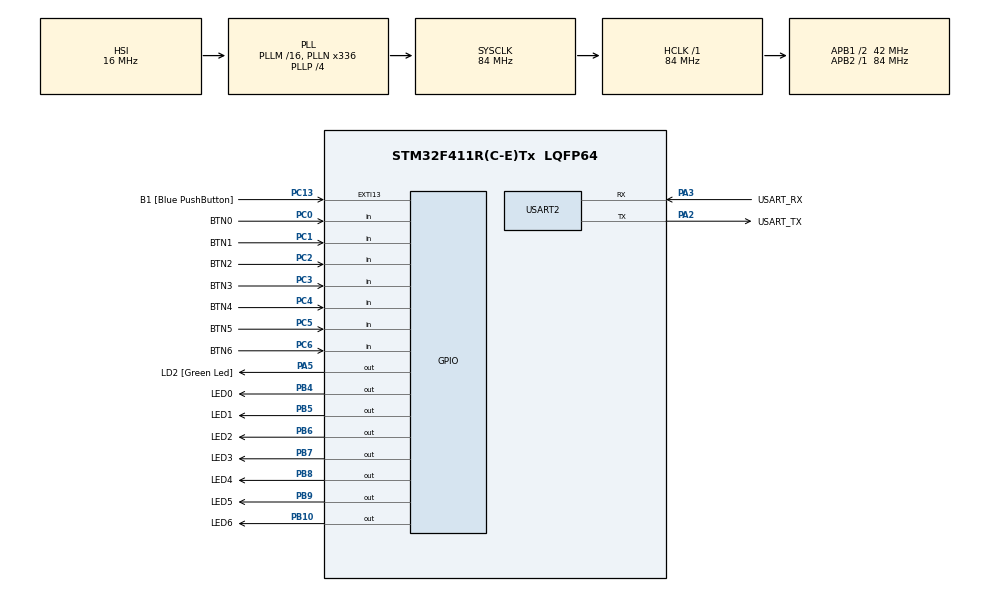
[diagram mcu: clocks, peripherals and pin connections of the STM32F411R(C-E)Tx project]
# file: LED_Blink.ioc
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Mcu.Family=STM32F4
Mcu.Name=STM32F411R(C-E)Tx
Mcu.Package=LQFP64
NVIC.PriorityGroup=NVIC_PRIORITYGROUP_0
PA13.GPIO_Label=TMS
PA13.Mode=Serial_Wire
PA13.Signal=SYS_JTMS-SWDIO
PA14.GPIO_Label=TCK
PA14.Mode=Serial_Wire
PA14.Signal=SYS_JTCK-SWCLK
PA2.GPIO_Label=USART_TX
PA2.Mode=Asynchronous
PA2.Signal=USART2_TX
PA3.GPIO_Label=USART_RX
PA3.Mode=Asynchronous
PA3.Signal=USART2_RX
PA5.GPIO_Label=LD2 [Green Led]
PA5.Signal=GPIO_Output
PB10.GPIO_Label=LED6
PB10.Signal=GPIO_Output
PB3.GPIO_Label=SWO
PB3.Signal=SYS_JTDO-SWO
PB4.GPIO_Label=LED0
PB4.Signal=GPIO_Output
PB5.GPIO_Label=LED1
PB5.Signal=GPIO_Output
PB6.GPIO_Label=LED2
PB6.Signal=GPIO_Output
PB7.GPIO_Label=LED3
PB7.Signal=GPIO_Output
PB8.GPIO_Label=LED4
PB8.Signal=GPIO_Output
PB9.GPIO_Label=LED5
PB9.Signal=GPIO_Output
PC0.GPIO_Label=BTN0
PC0.Signal=GPIO_Input
PC1.GPIO_Label=BTN1
PC1.Signal=GPIO_Input
PC13-ANTI_TAMP.GPIO_Label=B1 [Blue PushButton]
PC13-ANTI_TAMP.GPIO_ModeDefaultEXTI=GPIO_MODE_IT_FALLING
PC13-ANTI_TAMP.Signal=GPXTI13
PC14-OSC32_IN.Signal=RCC_OSC32_IN
PC15-OSC32_OUT.Signal=RCC_OSC32_OUT
PC2.GPIO_Label=BTN2
PC2.Signal=GPIO_Input
PC3.GPIO_Label=BTN3
PC3.Signal=GPIO_Input
PC4.GPIO_Label=BTN4
PC4.Signal=GPIO_Input
PC5.GPIO_Label=BTN5
PC5.Signal=GPIO_Input
PC6.GPIO_Label=BTN6
PC6.Signal=GPIO_Input
PH0\ -\ OSC_IN.Signal=RCC_OSC_IN
PH1\ -\ OSC_OUT.Signal=RCC_OSC_OUT
ProjectManager.HeapSize=0x200
ProjectManager.StackSize=0x400
ProjectManager.TargetToolchain=STM32CubeIDE
RCC.48MHZClocksFreq_Value=84000000
RCC.AHBFreq_Value=84000000
RCC.APB1CLKDivider=RCC_HCLK_DIV2
RCC.APB1Freq_Value=42000000
RCC.APB1TimFreq_Value=84000000
RCC.APB2Freq_Value=84000000
RCC.APB2TimFreq_Value=84000000
RCC.CortexFreq_Value=84000000
RCC.FLatency-AdvancedSettings=FLASH_LATENCY_2
RCC.HCLKFreq_Value=84000000
RCC.HSE_VALUE=8000000
RCC.HSI_VALUE=16000000
RCC.LSE_VALUE=32768
RCC.PLLN=336
RCC.PLLP=RCC_PLLP_DIV4
RCC.SYSCLKFreq_VALUE=84000000
RCC.SYSCLKSource=RCC_SYSCLKSOURCE_PLLCLK
RCC.VCOOutputFreq_Value=336000000
USART2.VirtualMode=VM_ASYNC
board=NUCLEO-F411RE

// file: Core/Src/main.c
/* USER CODE BEGIN Header */
/**
  ******************************************************************************
  * @file           : main.c
  * @brief          : Main program body
  ******************************************************************************
  * @attention
  *
  * Copyright (c) 2025 STMicroelectronics.
  * All rights reserved.
  *
  * This software is licensed under terms that can be found in the LICENSE file
  * in the root directory of this software component.
  * If no LICENSE file comes with this software, it is provided AS-IS.
  *
  ******************************************************************************
  */
/* USER CODE END Header */
#include "main.h"

/* USER CODE BEGIN Includes */
#include <stdio.h>
/* USER CODE END Includes */

/* USER CODE BEGIN PD */
#define LOW 0
#define HIGH 1

#ifdef __GNUC__
/* With GCC, small printf (option LD Linker->Libraries->Small printf
   set to 'Yes') calls __io_putchar() */
#define PUTCHAR_PROTOTYPE int __io_putchar(int ch)
#else
#define PUTCHAR_PROTOTYPE int fputc(int ch, FILE *f)
#endif /* __GNUC__ */

/* USER CODE END PD */

UART_HandleTypeDef huart2;

void SystemClock_Config(void);
static void MX_GPIO_Init(void);
static void MX_USART2_UART_Init(void);

int main(void)
{

  /* USER CODE BEGIN 1 */
	int buttonState[7]={ 0 };
	//int buttonFlag = 0;
	int buttonStateOld[7] = { 0 };
	int cnt = 1;
  /* USER CODE END 1 */

  /* MCU Configuration--------------------------------------------------------*/

  /* Reset of all peripherals, Initializes the Flash interface and the Systick. */
  HAL_Init();

  /* Configure the system clock */
  SystemClock_Config();

  /* Initialize all configured peripherals */
  MX_GPIO_Init();
  MX_USART2_UART_Init();
  /* USER CODE BEGIN 2 */
  printf("start\r\n");
  /* USER CODE END 2 */

  /* Infinite loop */
  /* USER CODE BEGIN WHILE */
  while (1)
  {

#if 1
     for(int i=0;i<7;i++)
     {
    	 buttonState[i] = (HAL_GPIO_ReadPin(GPIOC,BTN0_Pin<<i));
    	 if(buttonState[i] != buttonStateOld[i])   //버턴의 상태가 변경시
    	 {
    		 if(buttonState[i])   //버턴이 On일때
    		 {
    			 HAL_GPIO_TogglePin(GPIOB,LED0_Pin<<i);
	//	     buttonFlag = !buttonFlag;   //Toggle
	//	      printf("buttonFlag :  %d\r\n",buttonFlag);
	//	      // check if the pushbutton is pressed. If it is, the buttonState is HIGH:
	//	      if (buttonFlag == HIGH) {
	//	    	printf("HIGH\r\n");
	//	    	HAL_GPIO_WritePin(GPIOB, LED[0],GPIO_PIN_SET);
	//	      } else {
	//	    	printf("LOW\r\n");
	//	        HAL_GPIO_WritePin(GPIOB, LED[0],GPIO_PIN_RESET);
	//	      }
	    		printf("cnt :  %d\r\n",cnt++);
    		 }
    		 buttonStateOld[i] = buttonState[i];
    	 }
     }
#endif
    /* USER CODE END WHILE */

  }
}

void SystemClock_Config(void)
{
  RCC_OscInitTypeDef RCC_OscInitStruct = {0};
  RCC_ClkInitTypeDef RCC_ClkInitStruct = {0};

  /** Configure the main internal regulator output voltage
  */
  __HAL_RCC_PWR_CLK_ENABLE();
  __HAL_PWR_VOLTAGESCALING_CONFIG(PWR_REGULATOR_VOLTAGE_SCALE1);

  /** Initializes the RCC Oscillators according to the specified parameters
  * in the RCC_OscInitTypeDef structure.
  */
  RCC_OscInitStruct.OscillatorType = RCC_OSCILLATORTYPE_HSI;
  RCC_OscInitStruct.HSIState = RCC_HSI_ON;
  RCC_OscInitStruct.HSICalibrationValue = RCC_HSICALIBRATION_DEFAULT;
  RCC_OscInitStruct.PLL.PLLState = RCC_PLL_ON;
  RCC_OscInitStruct.PLL.PLLSource = RCC_PLLSOURCE_HSI;
  RCC_OscInitStruct.PLL.PLLM = 16;
  RCC_OscInitStruct.PLL.PLLN = 336;
  RCC_OscInitStruct.PLL.PLLP = RCC_PLLP_DIV4;
  RCC_OscInitStruct.PLL.PLLQ = 4;
  if (HAL_RCC_OscConfig(&RCC_OscInitStruct) != HAL_OK)
  {
    Error_Handler();
  }

  /** Initializes the CPU, AHB and APB buses clocks
  */
  RCC_ClkInitStruct.ClockType = RCC_CLOCKTYPE_HCLK|RCC_CLOCKTYPE_SYSCLK
                              |RCC_CLOCKTYPE_PCLK1|RCC_CLOCKTYPE_PCLK2;
  RCC_ClkInitStruct.SYSCLKSource = RCC_SYSCLKSOURCE_PLLCLK;
  RCC_ClkInitStruct.AHBCLKDivider = RCC_SYSCLK_DIV1;
  RCC_ClkInitStruct.APB1CLKDivider = RCC_HCLK_DIV2;
  RCC_ClkInitStruct.APB2CLKDivider = RCC_HCLK_DIV1;

  if (HAL_RCC_ClockConfig(&RCC_ClkInitStruct, FLASH_LATENCY_2) != HAL_OK)
  {
    Error_Handler();
  }
}

static void MX_USART2_UART_Init(void)
{

  huart2.Instance = USART2;
  huart2.Init.BaudRate = 115200;
  huart2.Init.WordLength = UART_WORDLENGTH_8B;
  huart2.Init.StopBits = UART_STOPBITS_1;
  huart2.Init.Parity = UART_PARITY_NONE;
  huart2.Init.Mode = UART_MODE_TX_RX;
  huart2.Init.HwFlowCtl = UART_HWCONTROL_NONE;
  huart2.Init.OverSampling = UART_OVERSAMPLING_16;
  if (HAL_UART_Init(&huart2) != HAL_OK)
  {
    Error_Handler();
  }

}

static void MX_GPIO_Init(void)
{
  GPIO_InitTypeDef GPIO_InitStruct = {0};

  /* GPIO Ports Clock Enable */
  __HAL_RCC_GPIOC_CLK_ENABLE();
  __HAL_RCC_GPIOH_CLK_ENABLE();
  __HAL_RCC_GPIOA_CLK_ENABLE();
  __HAL_RCC_GPIOB_CLK_ENABLE();

  /*Configure GPIO pin Output Level */
  HAL_GPIO_WritePin(LD2_GPIO_Port, LD2_Pin, GPIO_PIN_RESET);

  /*Configure GPIO pin Output Level */
  HAL_GPIO_WritePin(GPIOB, LED6_Pin|LED0_Pin|LED1_Pin|LED2_Pin
                          |LED3_Pin|LED4_Pin|LED5_Pin, GPIO_PIN_RESET);

  /*Configure GPIO pin : B1_Pin */
  GPIO_InitStruct.Pin = B1_Pin;
  GPIO_InitStruct.Mode = GPIO_MODE_IT_FALLING;
  GPIO_InitStruct.Pull = GPIO_NOPULL;
  HAL_GPIO_Init(B1_GPIO_Port, &GPIO_InitStruct);

  /*Configure GPIO pins : BTN0_Pin BTN1_Pin BTN2_Pin BTN3_Pin
                           BTN4_Pin BTN5_Pin BTN6_Pin */
  GPIO_InitStruct.Pin = BTN0_Pin|BTN1_Pin|BTN2_Pin|BTN3_Pin
                          |BTN4_Pin|BTN5_Pin|BTN6_Pin;
  GPIO_InitStruct.Mode = GPIO_MODE_INPUT;
  GPIO_InitStruct.Pull = GPIO_NOPULL;
  HAL_GPIO_Init(GPIOC, &GPIO_InitStruct);

  /*Configure GPIO pin : LD2_Pin */
  GPIO_InitStruct.Pin = LD2_Pin;
  GPIO_InitStruct.Mode = GPIO_MODE_OUTPUT_PP;
  GPIO_InitStruct.Pull = GPIO_NOPULL;
  GPIO_InitStruct.Speed = GPIO_SPEED_FREQ_LOW;
  HAL_GPIO_Init(LD2_GPIO_Port, &GPIO_InitStruct);

  /*Configure GPIO pins : LED6_Pin LED0_Pin LED1_Pin LED2_Pin
                           LED3_Pin LED4_Pin LED5_Pin */
  GPIO_InitStruct.Pin = LED6_Pin|LED0_Pin|LED1_Pin|LED2_Pin
                          |LED3_Pin|LED4_Pin|LED5_Pin;
  GPIO_InitStruct.Mode = GPIO_MODE_OUTPUT_PP;
  GPIO_InitStruct.Pull = GPIO_NOPULL;
  GPIO_InitStruct.Speed = GPIO_SPEED_FREQ_LOW;
  HAL_GPIO_Init(GPIOB, &GPIO_InitStruct);

}

/* USER CODE BEGIN 4 */
/**
  * @brief  Retargets the C library printf function to the USART.
  * @param  None
  * @retval None
  */
PUTCHAR_PROTOTYPE
{
  /* Place your implementation of fputc here */
  /* e.g. write a character to the USART6 and Loop until the end of transmission */
  HAL_UART_Transmit(&huart2, (uint8_t *)&ch, 1, 0xFFFF);

  return ch;
}
/* USER CODE END 4 */

void Error_Handler(void)
{
  __disable_irq();
  while (1)
  {
  }
}
